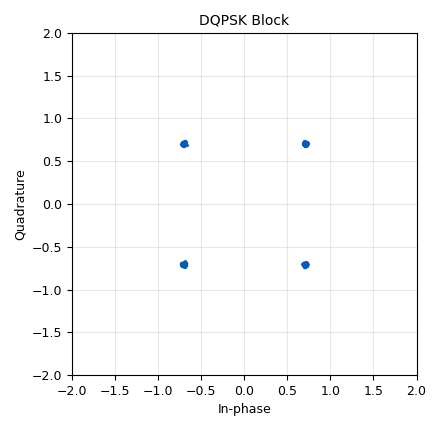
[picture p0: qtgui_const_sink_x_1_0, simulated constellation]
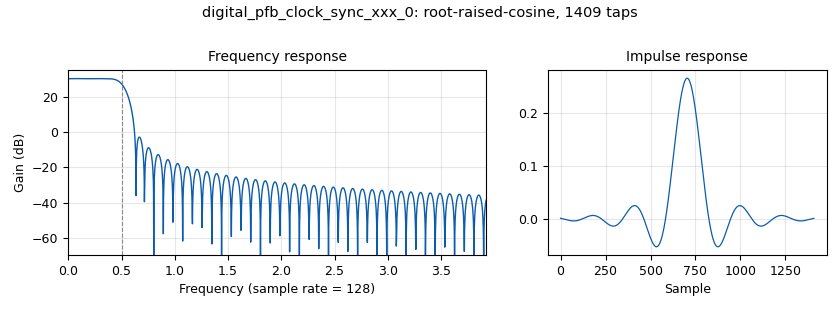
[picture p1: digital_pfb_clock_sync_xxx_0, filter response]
<?xml version='1.0' encoding='utf-8'?>
<?grc format='1' created='3.7.11'?>
<flow_graph>
<block>
<key>options</key>
<param><key>id</key><value>top_block</value></param>
<param><key>generate_options</key><value>qt_gui</value></param>
</block>
<block>
<key>variable_constellation</key>
<param><key>id</key><value>bpsk</value></param>
<param><key>type</key><value>bpsk</value></param>
<param><key>precision</key><value>8</value></param>
</block>
<block>
<key>variable_constellation</key>
<param><key>id</key><value>const</value></param>
<param><key>type</key><value>qpsk</value></param>
<param><key>precision</key><value>8</value></param>
</block>
<block>
<key>variable</key>
<param><key>id</key><value>eb</value></param>
<param><key>value</key><value>0.22</value></param>
</block>
<block>
<key>variable</key>
<param><key>id</key><value>fc</value></param>
<param><key>value</key><value>1e6</value></param>
</block>
<block>
<key>variable</key>
<param><key>id</key><value>fm</value></param>
<param><key>value</key><value>1e3</value></param>
</block>
<block>
<key>variable</key>
<param><key>id</key><value>nfilts</value></param>
<param><key>value</key><value>32</value></param>
</block>
<block>
<key>variable_constellation_rect</key>
<param><key>id</key><value>qpsk</value></param>
<param><key>const_points</key><value>[0.707+0.707j, -0.707+0.707j, -0.707-0.707j, 0.707-0.707j]</value></param>
<param><key>imag_sect</key><value>2</value></param>
<param><key>real_sect</key><value>2</value></param>
<param><key>rot_sym</key><value>4</value></param>
<param><key>sym_map</key><value>[0, 1,2,3]</value></param>
<param><key>w_imag_sect</key><value>1</value></param>
<param><key>w_real_sect</key><value>1</value></param>
</block>
<block>
<key>variable_rrc_filter_taps</key>
<param><key>id</key><value>rx_rrc_taps</value></param>
<param><key>alpha</key><value>eb</value></param>
<param><key>gain</key><value>nfilts</value></param>
<param><key>ntaps</key><value>11*sps*nfilts</value></param>
<param><key>samp_rate</key><value>sps*nfilts</value></param>
<param><key>sym_rate</key><value>1.0</value></param>
</block>
<block>
<key>variable</key>
<param><key>id</key><value>samp_rate</value></param>
<param><key>value</key><value>1250000</value></param>
</block>
<block>
<key>variable</key>
<param><key>id</key><value>sps</value></param>
<param><key>value</key><value>4</value></param>
</block>
<block>
<key>MyQPSK_my_qpsk_demod_cb</key>
<param><key>id</key><value>MyQPSK_my_qpsk_demod_cb_0</value></param>
<param><key>gray_code</key><value>True</value></param>
</block>
<block>
<key>analog_random_source_x</key>
<param><key>id</key><value>analog_random_source_x_0</value></param>
<param><key>_enabled</key><value>0</value></param>
<param><key>max</key><value>255</value></param>
<param><key>min</key><value>0</value></param>
<param><key>num_samps</key><value>1000</value></param>
<param><key>type</key><value>byte</value></param>
<param><key>repeat</key><value>True</value></param>
</block>
<block>
<key>blocks_char_to_float</key>
<param><key>id</key><value>blocks_char_to_float_0_0</value></param>
<param><key>scale</key><value>1</value></param>
</block>
<block>
<key>blocks_file_sink</key>
<param><key>id</key><value>blocks_file_sink_0</value></param>
<param><key>file</key><value>/home/xongile/Lab-Project/TestSinks/QPSKSimple.dat</value></param>
<param><key>type</key><value>byte</value></param>
</block>
<block>
<key>blocks_file_sink</key>
<param><key>id</key><value>blocks_file_sink_0_0</value></param>
<param><key>_enabled</key><value>0</value></param>
<param><key>file</key><value>/home/xongile/Lab-Project/TestSinks/QPSKSimpleOrig.dat</value></param>
<param><key>type</key><value>byte</value></param>
</block>
<block>
<key>blocks_pack_k_bits_bb</key>
<param><key>id</key><value>blocks_pack_k_bits_bb_0</value></param>
<param><key>_enabled</key><value>0</value></param>
<param><key>k</key><value>2</value></param>
</block>
<block>
<key>blocks_pack_k_bits_bb</key>
<param><key>id</key><value>blocks_pack_k_bits_bb_1</value></param>
<param><key>k</key><value>8</value></param>
</block>
<block>
<key>blocks_throttle</key>
<param><key>id</key><value>blocks_throttle_0</value></param>
<param><key>samples_per_second</key><value>samp_rate</value></param>
<param><key>type</key><value>byte</value></param>
</block>
<block>
<key>blocks_unpack_k_bits_bb</key>
<param><key>id</key><value>blocks_unpack_k_bits_bb_0</value></param>
<param><key>k</key><value>2</value></param>
</block>
<block>
<key>blocks_vector_source_x</key>
<param><key>id</key><value>blocks_vector_source_x_0</value></param>
<param><key>_enabled</key><value>0</value></param>
<param><key>type</key><value>byte</value></param>
<param><key>repeat</key><value>True</value></param>
<param><key>vector</key><value>(127, 140, 100)</value></param>
</block>
<block>
<key>blocks_vector_source_x</key>
<param><key>id</key><value>blocks_vector_source_x_0_0</value></param>
<param><key>type</key><value>byte</value></param>
<param><key>repeat</key><value>True</value></param>
<param><key>vector</key><value>range(256)</value></param>
</block>
<block>
<key>digital_binary_slicer_fb</key>
<param><key>id</key><value>digital_binary_slicer_fb_0</value></param>
<param><key>_enabled</key><value>0</value></param>
</block>
<block>
<key>digital_cma_equalizer_cc</key>
<param><key>id</key><value>digital_cma_equalizer_cc_0</value></param>
<param><key>mu</key><value>0.01</value></param>
<param><key>modulus</key><value>1</value></param>
<param><key>num_taps</key><value>15</value></param>
<param><key>sps</key><value>2</value></param>
</block>
<block>
<key>digital_constellation_modulator</key>
<param><key>id</key><value>digital_constellation_modulator_0</value></param>
<param><key>constellation</key><value>qpsk</value></param>
<param><key>differential</key><value>True</value></param>
<param><key>excess_bw</key><value>0.35</value></param>
<param><key>samples_per_symbol</key><value>sps</value></param>
</block>
<block>
<key>digital_constellation_soft_decoder_cf</key>
<param><key>id</key><value>digital_constellation_soft_decoder_cf_0</value></param>
<param><key>constellation</key><value>const</value></param>
<param><key>_enabled</key><value>0</value></param>
</block>
<block>
<key>digital_costas_loop_cc</key>
<param><key>id</key><value>digital_costas_loop_cc_0</value></param>
<param><key>w</key><value>6.28/100</value></param>
<param><key>order</key><value>4</value></param>
</block>
<block>
<key>digital_diff_decoder_bb</key>
<param><key>id</key><value>digital_diff_decoder_bb_0</value></param>
<param><key>modulus</key><value>4</value></param>
</block>
<block>
<key>digital_map_bb</key>
<param><key>id</key><value>digital_map_bb_0</value></param>
<param><key>map</key><value>(0,1,3,2)</value></param>
</block>
<block>
<key>digital_pfb_clock_sync_xxx</key>
<param><key>id</key><value>digital_pfb_clock_sync_xxx_0</value></param>
<param><key>filter_size</key><value>32</value></param>
<param><key>init_phase</key><value>16</value></param>
<param><key>loop_bw</key><value>6.28/100</value></param>
<param><key>max_dev</key><value>1.5</value></param>
<param><key>osps</key><value>2</value></param>
<param><key>sps</key><value>sps</value></param>
<param><key>taps</key><value>rx_rrc_taps</value></param>
<param><key>type</key><value>ccf</value></param>
</block>
<block>
<key>osmosdr_sink</key>
<param><key>id</key><value>osmosdr_sink_0</value></param>
<param><key>bb_gain0</key><value>20</value></param>
<param><key>freq0</key><value>fc</value></param>
<param><key>if_gain0</key><value>20</value></param>
<param><key>gain0</key><value>10</value></param>
<param><key>args</key><value>sdr</value></param>
<param><key>_enabled</key><value>0</value></param>
<param><key>type</key><value>fc32</value></param>
<param><key>sample_rate</key><value>samp_rate</value></param>
<param><key>sync</key><value></value></param>
</block>
<block>
<key>osmosdr_source</key>
<param><key>id</key><value>osmosdr_source_0</value></param>
<param><key>bb_gain0</key><value>20</value></param>
<param><key>freq0</key><value>fc</value></param>
<param><key>gain_mode0</key><value>False</value></param>
<param><key>if_gain0</key><value>20</value></param>
<param><key>gain0</key><value>10</value></param>
<param><key>args</key><value>sdr</value></param>
<param><key>_enabled</key><value>0</value></param>
<param><key>type</key><value>fc32</value></param>
<param><key>sample_rate</key><value>samp_rate</value></param>
<param><key>sync</key><value></value></param>
</block>
<block>
<key>qtgui_const_sink_x</key>
<param><key>id</key><value>qtgui_const_sink_x_0</value></param>
<param><key>size</key><value>1024</value></param>
<param><key>type</key><value>complex</value></param>
</block>
<block>
<key>qtgui_const_sink_x</key>
<param><key>id</key><value>qtgui_const_sink_x_1_0</value></param>
<param><key>name</key><value>"DQPSK Block"</value></param>
<param><key>size</key><value>1024</value></param>
<param><key>type</key><value>complex</value></param>
</block>
<block>
<key>qtgui_time_sink_x</key>
<param><key>id</key><value>qtgui_time_sink_x_1</value></param>
<param><key>color1</key><value>"blue"</value></param>
<param><key>label1</key><value></value></param>
<param><key>name</key><value>"Data"</value></param>
<param><key>size</key><value>100</value></param>
<param><key>srate</key><value>samp_rate</value></param>
<param><key>type</key><value>float</value></param>
</block>
<connection><source_block_id>MyQPSK_my_qpsk_demod_cb_0</source_block_id><sink_block_id>digital_map_bb_0</sink_block_id><source_key>0</source_key><sink_key>0</sink_key></connection>
<connection><source_block_id>analog_random_source_x_0</source_block_id><sink_block_id>blocks_throttle_0</sink_block_id><source_key>0</source_key><sink_key>0</sink_key></connection>
<connection><source_block_id>blocks_char_to_float_0_0</source_block_id><sink_block_id>qtgui_time_sink_x_1</sink_block_id><source_key>0</source_key><sink_key>0</sink_key></connection>
<connection><source_block_id>blocks_pack_k_bits_bb_0</source_block_id><sink_block_id>digital_diff_decoder_bb_0</sink_block_id><source_key>0</source_key><sink_key>0</sink_key></connection>
<connection><source_block_id>blocks_pack_k_bits_bb_1</source_block_id><sink_block_id>blocks_file_sink_0</sink_block_id><source_key>0</source_key><sink_key>0</sink_key></connection>
<connection><source_block_id>blocks_throttle_0</source_block_id><sink_block_id>blocks_file_sink_0_0</sink_block_id><source_key>0</source_key><sink_key>0</sink_key></connection>
<connection><source_block_id>blocks_throttle_0</source_block_id><sink_block_id>digital_constellation_modulator_0</sink_block_id><source_key>0</source_key><sink_key>0</sink_key></connection>
<connection><source_block_id>blocks_unpack_k_bits_bb_0</source_block_id><sink_block_id>blocks_char_to_float_0_0</sink_block_id><source_key>0</source_key><sink_key>0</sink_key></connection>
<connection><source_block_id>blocks_unpack_k_bits_bb_0</source_block_id><sink_block_id>blocks_pack_k_bits_bb_1</sink_block_id><source_key>0</source_key><sink_key>0</sink_key></connection>
<connection><source_block_id>blocks_vector_source_x_0</source_block_id><sink_block_id>blocks_throttle_0</sink_block_id><source_key>0</source_key><sink_key>0</sink_key></connection>
<connection><source_block_id>blocks_vector_source_x_0_0</source_block_id><sink_block_id>blocks_throttle_0</sink_block_id><source_key>0</source_key><sink_key>0</sink_key></connection>
<connection><source_block_id>digital_binary_slicer_fb_0</source_block_id><sink_block_id>blocks_pack_k_bits_bb_0</sink_block_id><source_key>0</source_key><sink_key>0</sink_key></connection>
<connection><source_block_id>digital_cma_equalizer_cc_0</source_block_id><sink_block_id>digital_costas_loop_cc_0</sink_block_id><source_key>0</source_key><sink_key>0</sink_key></connection>
<connection><source_block_id>digital_constellation_modulator_0</source_block_id><sink_block_id>digital_pfb_clock_sync_xxx_0</sink_block_id><source_key>0</source_key><sink_key>0</sink_key></connection>
<connection><source_block_id>digital_constellation_soft_decoder_cf_0</source_block_id><sink_block_id>digital_binary_slicer_fb_0</sink_block_id><source_key>0</source_key><sink_key>0</sink_key></connection>
<connection><source_block_id>digital_costas_loop_cc_0</source_block_id><sink_block_id>MyQPSK_my_qpsk_demod_cb_0</sink_block_id><source_key>0</source_key><sink_key>0</sink_key></connection>
<connection><source_block_id>digital_costas_loop_cc_0</source_block_id><sink_block_id>digital_constellation_soft_decoder_cf_0</sink_block_id><source_key>0</source_key><sink_key>0</sink_key></connection>
<connection><source_block_id>digital_costas_loop_cc_0</source_block_id><sink_block_id>qtgui_const_sink_x_1_0</sink_block_id><source_key>0</source_key><sink_key>0</sink_key></connection>
<connection><source_block_id>digital_diff_decoder_bb_0</source_block_id><sink_block_id>blocks_unpack_k_bits_bb_0</sink_block_id><source_key>0</source_key><sink_key>0</sink_key></connection>
<connection><source_block_id>digital_map_bb_0</source_block_id><sink_block_id>digital_diff_decoder_bb_0</sink_block_id><source_key>0</source_key><sink_key>0</sink_key></connection>
<connection><source_block_id>digital_pfb_clock_sync_xxx_0</source_block_id><sink_block_id>digital_cma_equalizer_cc_0</sink_block_id><source_key>0</source_key><sink_key>0</sink_key></connection>
</flow_graph>
